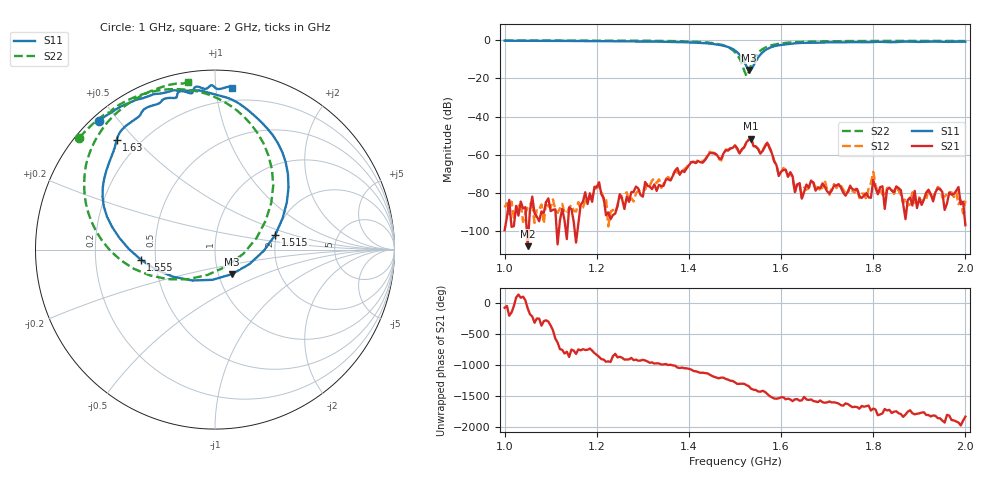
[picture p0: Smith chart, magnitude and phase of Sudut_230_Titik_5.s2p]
# Hz S RI R 50
! CMT, C1220, 16058040, 17.2.0/1
! Date: 14/08/2018 11:49:50
! Data: Format (Calibration Info)
! Freq  S11: Re/Im (F2)  S21: Re/Im (F2)  S12: Re/Im (F2)  S22: Re/Im (F2)
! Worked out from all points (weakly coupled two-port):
!   201 points, 1 GHz to 2 GHz, reference 50 ohm
!   highest |S21| = -51.55 dB at 1.535 GHz (marker M1); lowest = -107.9 dB at 1.05 GHz (marker M2)
!   lowest |S11| = -15.6 dB at 1.53 GHz (marker M3), VSWR 1.40, Z = 57.9 - j16.3 ohm
!   |S11| at or under -10 dB: 1.517 GHz to 1.548 GHz (31.03 MHz wide, 2.03 % of centre)
!   |S22| runs from -18.9 to -0.2 dB; largest |S21 - S12| = 0.00014
!   S11 on the Smith chart (normalised r, x): 1 GHz: 0.02, +0.44; 1.515 GHz: 1.96, +0.36; 1.555 GHz: 0.41, -0.06; 1.63 GHz: 0.12, +0.44; 2 GHz: 0.11, +1.11
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1e9  -0.6479 0.7148  3.21e-06 -1e-05  1.89e-06 -4.2e-05  -0.7552 0.6242
1.05e9  -0.602 0.7493  7.51e-07 -3.96e-06  -1.58e-05 -3.87e-05  -0.7206 0.6616
1.17e9  -0.4693 0.8217  5.57e-05 -2.03e-05  3.86e-05 -1.42e-05  -0.6184 0.7505
1.335e9  -0.2069 0.886  -5.57e-05 0.000153  -4.64e-05 0.000222  -0.4013 0.8659
1.34e9  -0.1963 0.8854  -5.87e-06 0.000151  -2.81e-05 0.000132  -0.391 0.8691
1.45e9  0.1805 0.78  -1.56e-05 -0.0011  -9.09e-05 -0.00114  0.0217 0.8391
1.47e9  0.2927 0.6735  -0.000362 -0.000682  -0.000386 -0.000593  0.1614 0.7404
1.5e9  0.4097 0.3461  -0.0017 0.000477  -0.00157 0.000469  0.3244 0.3573
1.515e9  0.3351 0.0811  -0.00111 0.000845  -0.0011 0.000801  0.2316 0.0646
1.53e9  0.0937 -0.1369  -0.000501 0.00242  -0.000549 0.00241  -0.0414 -0.1411
1.535e9  -0.0143 -0.1684  0.00127 0.00232  0.00125 0.00232  -0.1526 -0.1655
1.555e9  -0.4129 -0.0564  0.00103 0.000248  0.00106 0.000314  -0.5246 -0.0596
1.57e9  -0.5723 0.1248  0.00192 -0.000758  0.002 -0.000815  -0.6636 0.1044
1.595e9  -0.6174 0.3951  -9.81e-06 -0.000277  3.87e-05 -0.000301  -0.7285 0.3392
1.62e9  -0.5585 0.5696  -0.000123 -0.000327  -0.000121 -0.000309  -0.7128 0.495
1.63e9  -0.5474 0.613  -3.47e-05 -9.89e-05  -8.07e-05 -6.25e-05  -0.6974 0.5416
1.67e9  -0.4334 0.7333  -0.000132 -0.000127  -0.000124 -0.000144  -0.6278 0.6719
1.785e9  -0.2145 0.8484  -7.66e-05 6.19e-05  -5.54e-05 3.66e-05  -0.4467 0.8367
1.8e9  -0.2083 0.8701  -4.35e-05 0.000213  -9.95e-05 0.000344  -0.4252 0.8492
1.81e9  -0.1954 0.8817  9.14e-05 -9.67e-06  9.2e-05 -2.11e-05  -0.4113 0.8572
1.835e9  -0.1375 0.8708  2.19e-05 0.000136  2.23e-05 0.000137  -0.3778 0.874
2e9  0.0964 0.9024  1.24e-05 -6.92e-06  4.71e-05 -4.24e-05  -0.1525 0.9341
